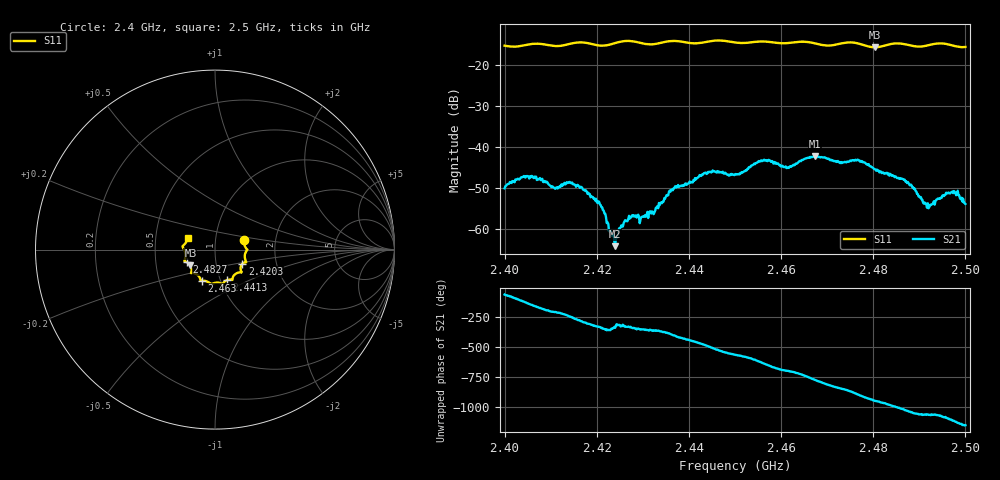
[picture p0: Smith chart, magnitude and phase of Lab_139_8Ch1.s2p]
# Hz S RI R 50
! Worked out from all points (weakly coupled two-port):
!   601 points, 2.4 GHz to 2.5 GHz, reference 50 ohm
!   highest |S21| = -42.29 dB at 2.4673 GHz (marker M1); lowest = -64.2 dB at 2.424 GHz (marker M2)
!   lowest |S11| = -15.7 dB at 2.4803 GHz (marker M3), VSWR 1.39, Z = 37.4 - j6.8 ohm
!   |S11| at or under -10 dB: start of sweep to end of sweep
!   S12 and S22 are empty: the file has one direction only
!   S11 on the Smith chart (normalised r, x): 2.4 GHz: 1.38, +0.15; 2.4203 GHz: 1.34, -0.22; 2.4413 GHz: 1.08, -0.38; 2.463 GHz: 0.82, -0.29; 2.4827 GHz: 0.72, -0.11; 2.5 GHz: 0.73, +0.10
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2.4e9  0.1626 0.0525  0.00139 -0.00282  0 0  0 0
2.404667e9  0.1746 0.00536  -0.00287 -0.00334  0 0  0 0
2.416667e9  0.1738 -0.0697  0.000909 0.00311  0 0  0 0
2.420333e9  0.1526 -0.08  0.00194 0.001  0 0  0 0
2.424e9  0.1437 -0.1144  0.000586 0.000203  0 0  0 0
2.4265e9  0.1488 -0.1262  0.00112 0.000571  0 0  0 0
2.433333e9  0.1003 -0.1518  0.00179 -0.000137  0 0  0 0
2.436667e9  0.0976 -0.1689  0.00223 -0.00219  0 0  0 0
2.441333e9  0.0676 -0.1693  -0.000484 -0.00415  0 0  0 0
2.445e9  0.0438 -0.1901  -0.00418 -0.00272  0 0  0 0
2.45e9  0.0244 -0.1853  -0.00418 0.002  0 0  0 0
2.456e9  -0.0204 -0.191  0.000582 0.00679  0 0  0 0
2.463e9  -0.0724 -0.1736  0.006 0.00078  0 0  0 0
2.466667e9  -0.0811 -0.1673  0.00529 -0.00542  0 0  0 0
2.467333e9  -0.0825 -0.1628  0.00435 -0.00634  0 0  0 0
2.480333e9  -0.1372 -0.0885  -0.00347 0.00407  0 0  0 0
2.482667e9  -0.1572 -0.0708  -0.00148 0.00458  0 0  0 0
2.483333e9  -0.1625 -0.0683  -0.000667 0.0047  0 0  0 0
2.487167e9  -0.1678 -0.0552  0.00245 0.0029  0 0  0 0
2.491833e9  -0.1723 0.000291  0.00198 0.000588  0 0  0 0
2.497167e9  -0.1694 0.0297  0.00235 -0.00164  0 0  0 0
2.5e9  -0.1518 0.0641  0.000594 -0.00193  0 0  0 0
